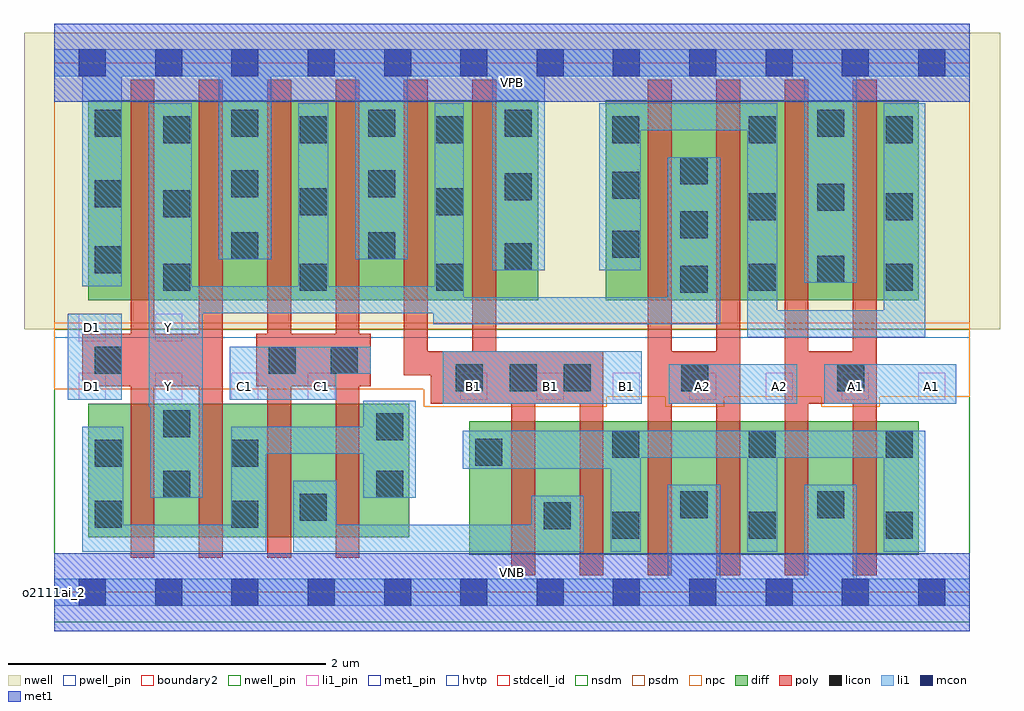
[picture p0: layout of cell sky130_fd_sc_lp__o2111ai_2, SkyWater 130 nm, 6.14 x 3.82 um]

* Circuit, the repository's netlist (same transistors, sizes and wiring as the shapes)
* Copyright 2020 The SkyWater PDK Authors
*
* Licensed under the Apache License, Version 2.0 (the "License");
* you may not use this file except in compliance with the License.
* You may obtain a copy of the License at
*
*     https://www.apache.org/licenses/LICENSE-2.0
*
* Unless required by applicable law or agreed to in writing, software
* distributed under the License is distributed on an "AS IS" BASIS,
* WITHOUT WARRANTIES OR CONDITIONS OF ANY KIND, either express or implied.
* See the License for the specific language governing permissions and
* limitations under the License.
*
* SPDX-License-Identifier: Apache-2.0

.SUBCKT sky130_fd_sc_lp__o2111ai_2 A1 A2 B1 C1 D1 VGND VNB VPB VPWR Y
*.PININFO A1:I A2:I B1:I C1:I D1:I VGND:I VNB:I VPB:I VPWR:I Y:O
MMPA0 VPWR A1 sndA1 VPB sky130_fd_pr__pfet_01v8_hvt m=2 w=1.26U l=0.15U mult=1
+ sa=0.265 sb=0.265 sd=0.28 area=0.063 perim=1.14
MMPA1 sndA1 A2 Y VPB sky130_fd_pr__pfet_01v8_hvt m=2 w=1.26U l=0.15U mult=1 sa=0.265
+ sb=0.265 sd=0.28 area=0.063 perim=1.14
MMPB0 VPWR B1 Y VPB sky130_fd_pr__pfet_01v8_hvt m=2 w=1.26U l=0.15U mult=1 sa=0.265
+ sb=0.265 sd=0.28 area=0.063 perim=1.14
MMPC0 VPWR C1 Y VPB sky130_fd_pr__pfet_01v8_hvt m=2 w=1.26U l=0.15U mult=1 sa=0.265
+ sb=0.265 sd=0.28 area=0.063 perim=1.14
MMPD0 VPWR D1 Y VPB sky130_fd_pr__pfet_01v8_hvt m=2 w=1.26U l=0.15U mult=1 sa=0.265
+ sb=0.265 sd=0.28 area=0.063 perim=1.14
MMNA0 pndA A1 VGND VNB sky130_fd_pr__nfet_01v8 m=2 w=0.84U l=0.15U mult=1 sa=0.265
+ sb=0.265 sd=0.28 area=0.063 perim=1.14
MMNA1 pndA A2 VGND VNB sky130_fd_pr__nfet_01v8 m=2 w=0.84U l=0.15U mult=1 sa=0.265
+ sb=0.265 sd=0.28 area=0.063 perim=1.14
MMNB0 pndB B1 pndA VNB sky130_fd_pr__nfet_01v8 m=2 w=0.84U l=0.15U mult=1 sa=0.265
+ sb=0.265 sd=0.28 area=0.063 perim=1.14
MMNC0 pndC C1 pndB VNB sky130_fd_pr__nfet_01v8 m=2 w=0.84U l=0.15U mult=1 sa=0.265
+ sb=0.265 sd=0.28 area=0.063 perim=1.14
MMND0 Y D1 pndC VNB sky130_fd_pr__nfet_01v8 m=2 w=0.84U l=0.15U mult=1 sa=0.265
+ sb=0.265 sd=0.28 area=0.063 perim=1.14
.ENDS sky130_fd_sc_lp__o2111ai_2

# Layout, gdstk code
import gdstk
lib = gdstk.Library(unit=1e-6, precision=1e-09)
def R(c, l, rs):  # rectangles x0, y0, x1, y1
    for r in rs: c.add(gdstk.rectangle(r[:2], r[2:], *l))
def A(c, l, x, y, w, h, nx, ny, dx, dy):  # array of equal rectangles
    R(c, l, [(x+i*dx, y+j*dy, x+i*dx+w, y+j*dy+h) for i in range(nx) for j in range(ny)])
def P(c, l, *ps):  # polygons
    for p in ps: c.add(gdstk.Polygon(p, *l))
nwell_pin = (64, 16)
nwell = (64, 20)
diff = (65, 20)
poly = (66, 20)
licon = (66, 44)
li1_pin = (67, 16)
li1 = (67, 20)
mcon = (67, 44)
met1_pin = (68, 16)
met1 = (68, 20)
hvtp = (78, 44)
stdcell_id = (81, 4)
nsdm = (93, 44)
psdm = (94, 20)
npc = (95, 20)
pwell_pin = (122, 16)
boundary2 = (236, 0)

sky130_fd_sc_lp__o2111ai = lib.new_cell('sky130_fd_sc_lp__o2111ai_2')
R(sky130_fd_sc_lp__o2111ai, nwell_pin, [(0,3.085,5.76,3.33)])
R(sky130_fd_sc_lp__o2111ai, nwell, [(-0.19,1.655,5.95,3.52)])
R(sky130_fd_sc_lp__o2111ai, diff, [(2.61,0.235,5.44,1.075), (0.215,0.345,2.235,1.185), (0.215,1.835,3.045,3.095), (3.47,1.835,5.44,3.095)])
P(sky130_fd_sc_lp__o2111ai, poly, [(1.06,3.225),(0.91,3.225),(0.91,1.625),(0.63,1.625),(0.63,3.225),(0.48,3.225),(0.48,1.625),(0.175,1.625),(0.175,1.295),(0.48,1.295),(0.48,0.215),(0.63,0.215),(0.63,1.295),(0.91,1.295),(0.91,0.215),(1.06,0.215)],
  [(1.99,1.625),(1.92,1.625),(1.92,3.225),(1.77,3.225),(1.77,1.625),(1.49,1.625),(1.49,3.225),(1.34,3.225),(1.34,1.625),(1.27,1.625),(1.27,1.295),(1.34,1.295),(1.34,0.215),(1.49,0.215),(1.49,1.295),(1.77,1.295),(1.77,0.215),(1.92,0.215),(1.92,1.295),(1.99,1.295)],
  [(3.455,1.515),(2.78,1.515),(2.78,3.225),(2.63,3.225),(2.63,1.515),(2.35,1.515),(2.35,3.225),(2.2,3.225),(2.2,1.365),(2.37,1.365),(2.37,1.185),(2.875,1.185),(2.875,0.105),(3.025,0.105),(3.025,1.185),(3.305,1.185),(3.305,0.105),(3.455,0.105)],
  [(4.315,3.225),(4.165,3.225),(4.165,1.515),(3.885,1.515),(3.885,3.225),(3.735,3.225),(3.735,0.105),(3.885,0.105),(3.885,1.185),(4.165,1.185),(4.165,0.105),(4.315,0.105)],
  [(5.175,3.225),(5.025,3.225),(5.025,1.515),(4.745,1.515),(4.745,3.225),(4.595,3.225),(4.595,0.105),(4.745,0.105),(4.745,1.185),(5.025,1.185),(5.025,0.105),(5.175,0.105)])
A(sky130_fd_sc_lp__o2111ai, licon, 3.51, 0.335, 0.17, 0.17, 3, 2, 0.86, 0.51)
A(sky130_fd_sc_lp__o2111ai, licon, 2.525, 1.265, 0.17, 0.17, 3, 1, 0.34, 0)
A(sky130_fd_sc_lp__o2111ai, licon, 3.94, 1.885, 0.17, 0.17, 1, 3, 0, 0.34)
A(sky130_fd_sc_lp__o2111ai, licon, 0.685, 1.895, 0.17, 0.17, 3, 2, 0.86, 0.93)
A(sky130_fd_sc_lp__o2111ai, licon, 3.51, 2.825, 0.17, 0.17, 3, 1, 0.86, 0)
A(sky130_fd_sc_lp__o2111ai, licon, 0.255, 2.865, 0.17, 0.17, 4, 1, 0.86, 0)
R(sky130_fd_sc_lp__o2111ai, licon, [(3.08,0.395,3.25,0.565), (0.255,0.405,0.425,0.575), (1.115,0.405,1.285,0.575), (1.545,0.45,1.715,0.62), (3.94,0.465,4.11,0.635), (4.8,0.465,4.97,0.635), (0.685,0.595,0.855,0.765), (2.025,0.595,2.195,0.765), (0.255,0.79,0.425,0.96), (1.115,0.79,1.285,0.96), (2.65,0.795,2.82,0.965), (2.025,0.955,2.195,1.125), (0.685,0.975,0.855,1.145), (3.945,1.265,4.115,1.435), (4.925,1.265,5.095,1.435), (0.255,1.375,0.425,1.545), (1.35,1.375,1.52,1.545), (1.74,1.375,1.91,1.545), (4.37,1.895,4.54,2.065), (5.23,1.895,5.4,2.065), (4.8,1.945,4.97,2.115), (0.255,2.005,0.425,2.175), (2.835,2.025,3.005,2.195), (1.115,2.095,1.285,2.265), (1.975,2.095,2.145,2.265), (3.51,2.105,3.68,2.275), (4.37,2.34,4.54,2.51), (5.23,2.34,5.4,2.51), (0.685,2.36,0.855,2.53), (1.545,2.37,1.715,2.54), (2.405,2.37,2.575,2.54), (4.8,2.4,4.97,2.57), (0.255,2.42,0.425,2.59), (2.835,2.465,3.005,2.635), (3.51,2.475,3.68,2.645), (1.115,2.485,1.285,2.655), (1.975,2.485,2.145,2.655), (4.8,2.865,4.97,3.035)])
A(sky130_fd_sc_lp__o2111ai, li1_pin, 0.155, 1.21, 0.17, 0.17, 4, 1, 0.48, 0)
A(sky130_fd_sc_lp__o2111ai, li1_pin, 2.555, 1.21, 0.17, 0.17, 7, 1, 0.48, 0)
R(sky130_fd_sc_lp__o2111ai, li1_pin, [(0.155,1.58,0.325,1.75), (0.635,1.58,0.805,1.75)])
R(sky130_fd_sc_lp__o2111ai, li1, [(2.445,1.185,3.695,1.515), (3.865,1.185,4.675,1.435), (4.845,1.185,5.675,1.435), (0.085,1.21,0.425,1.75)])
P(sky130_fd_sc_lp__o2111ai, li1, [(1.035,2.095),(1.035,3.245),(0.425,3.245),(0.425,1.925),(0.175,1.925),(0.175,3.245),(0,3.245),(0,3.415),(5.76,3.415),(5.76,3.245),(5.05,3.245),(5.05,1.945),(4.72,1.945),(4.72,3.245),(3.085,3.245),(3.085,2.025),(2.755,2.025),(2.755,3.245),(2.225,3.245),(2.225,2.095),(1.895,2.095),(1.895,3.245),(1.365,3.245),(1.365,2.095)],
  [(3.86,0.085),(3.86,0.675),(4.19,0.675),(4.19,0.085),(4.72,0.085),(4.72,0.675),(5.05,0.675),(5.05,0.085),(5.76,0.085),(5.76,-0.085),(0,-0.085),(0,0.085)],
  [(0.595,3.075),(0.865,3.075),(0.865,1.925),(1.535,1.925),(1.535,3.075),(1.725,3.075),(1.725,1.925),(2.395,1.925),(2.395,3.075),(2.575,3.075),(2.575,1.855),(3.86,1.855),(3.86,2.735),(4.19,2.735),(4.19,1.685),(2.385,1.685),(2.385,1.755),(0.935,1.755),(0.935,0.595),(0.605,0.595),(0.605,1.165),(0.595,1.165)],
  [(1.99,1.545),(1.105,1.545),(1.105,1.21),(1.775,1.21),(1.775,1.375),(1.99,1.375)],
  [(4.55,1.775),(5.22,1.775),(5.22,3.075),(5.48,3.075),(5.48,1.605),(4.36,1.605),(4.36,2.905),(3.69,2.905),(3.69,2.025),(3.43,2.025),(3.43,3.075),(4.55,3.075)],
  [(5.22,0.845),(4.55,0.845),(4.55,0.255),(4.36,0.255),(4.36,0.845),(3.69,0.845),(3.69,0.255),(3.5,0.255),(3.5,0.775),(2.57,0.775),(2.57,1.015),(5.48,1.015),(5.48,0.255),(5.22,0.255)],
  [(1.775,0.425),(3,0.425),(3,0.605),(3.33,0.605),(3.33,0.255),(1.505,0.255),(1.505,0.7),(1.775,0.7)],
  [(1.945,0.87),(1.335,0.87),(1.335,0.255),(0.175,0.255),(0.175,1.04),(0.435,1.04),(0.435,0.425),(1.115,0.425),(1.115,1.04),(1.945,1.04),(1.945,1.205),(2.275,1.205),(2.275,0.595),(1.945,0.595)])
A(sky130_fd_sc_lp__o2111ai, mcon, 0.155, -0.085, 0.17, 0.17, 12, 2, 0.48, 3.33)
R(sky130_fd_sc_lp__o2111ai, met1_pin, [(0,0,5.76,0.245), (0,3.085,5.76,3.33)])
R(sky130_fd_sc_lp__o2111ai, met1, [(0,-0.245,5.76,0.245), (0,3.085,5.76,3.575)])
R(sky130_fd_sc_lp__o2111ai, hvtp, [(0,1.6,5.76,3.33)])
R(sky130_fd_sc_lp__o2111ai, stdcell_id, [(0,0,5.76,3.33)])
R(sky130_fd_sc_lp__o2111ai, nsdm, [(0,-0.19,5.76,1.655)])
R(sky130_fd_sc_lp__o2111ai, psdm, [(0,1.655,5.76,3.52)])
P(sky130_fd_sc_lp__o2111ai, npc, [(5.76,1.695),(0,1.695),(0,1.275),(2.325,1.275),(2.325,1.165),(3.475,1.165),(3.475,1.23),(3.845,1.23),(3.845,1.165),(4.215,1.165),(4.215,1.23),(4.825,1.23),(4.825,1.165),(5.195,1.165),(5.195,1.23),(5.76,1.23)])
R(sky130_fd_sc_lp__o2111ai, pwell_pin, [(0,0,5.76,0.245)])
R(sky130_fd_sc_lp__o2111ai, boundary2, [(0,0,5.76,3.33)])
sky130_fd_sc_lp__o2111ai.add(gdstk.Label('VNB', (2.88,0.123), layer=64, texttype=59))
sky130_fd_sc_lp__o2111ai.add(gdstk.Label('VPB', (2.88,3.208), layer=64, texttype=5))
sky130_fd_sc_lp__o2111ai.add(gdstk.Label('o2111ai_2', (0,0), layer=83, texttype=44))
sky130_fd_sc_lp__o2111ai.add(gdstk.Label('VPWR', (2.88,3.208), layer=68, texttype=5))
sky130_fd_sc_lp__o2111ai.add(gdstk.Label('VGND', (2.88,0.123), layer=68, texttype=5))
sky130_fd_sc_lp__o2111ai.add(gdstk.Label('Y', (0.72,1.295), layer=67, texttype=5))
sky130_fd_sc_lp__o2111ai.add(gdstk.Label('Y', (0.72,1.665), layer=67, texttype=5))
sky130_fd_sc_lp__o2111ai.add(gdstk.Label('A1', (5.04,1.295), layer=67, texttype=5))
sky130_fd_sc_lp__o2111ai.add(gdstk.Label('A1', (5.52,1.295), layer=67, texttype=5))
sky130_fd_sc_lp__o2111ai.add(gdstk.Label('A2', (4.08,1.295), layer=67, texttype=5))
sky130_fd_sc_lp__o2111ai.add(gdstk.Label('A2', (4.56,1.295), layer=67, texttype=5))
sky130_fd_sc_lp__o2111ai.add(gdstk.Label('B1', (2.64,1.295), layer=67, texttype=5))
sky130_fd_sc_lp__o2111ai.add(gdstk.Label('B1', (3.12,1.295), layer=67, texttype=5))
sky130_fd_sc_lp__o2111ai.add(gdstk.Label('B1', (3.6,1.295), layer=67, texttype=5))
sky130_fd_sc_lp__o2111ai.add(gdstk.Label('C1', (1.2,1.295), layer=67, texttype=5))
sky130_fd_sc_lp__o2111ai.add(gdstk.Label('C1', (1.68,1.295), layer=67, texttype=5))
sky130_fd_sc_lp__o2111ai.add(gdstk.Label('D1', (0.24,1.295), layer=67, texttype=5))
sky130_fd_sc_lp__o2111ai.add(gdstk.Label('D1', (0.24,1.665), layer=67, texttype=5))

lib.write_gds('sky130_fd_sc_lp__o2111ai_2.gds')
